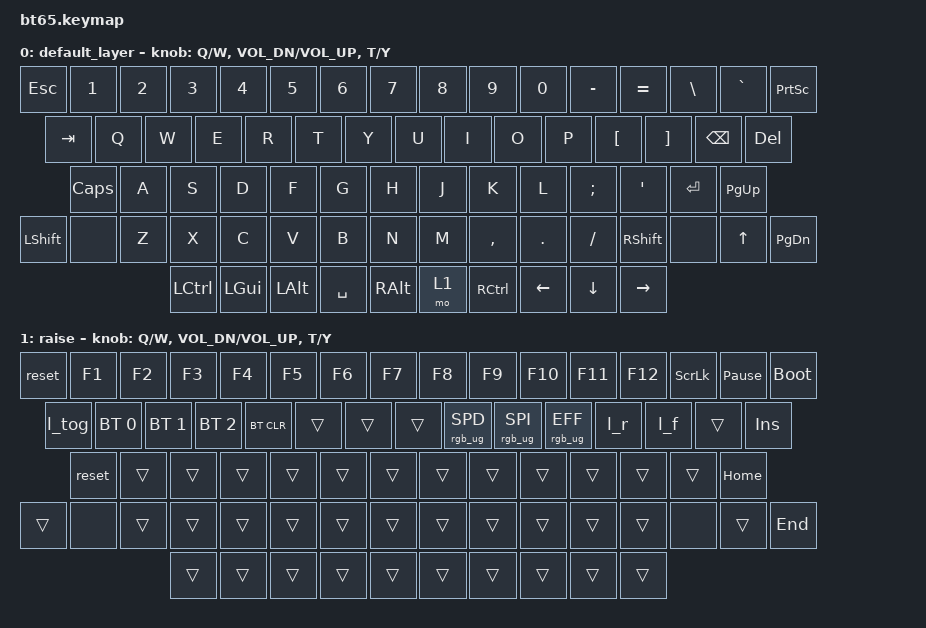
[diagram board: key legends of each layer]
#include <behaviors.dtsi>
#include <dt-bindings/zmk/keys.h>
#include <dt-bindings/zmk/bt.h>
#include <dt-bindings/zmk/rgb.h>
#include <dt-bindings/zmk/backlight.h>
#include <dt-bindings/zmk/ext_power.h>
#include <dt-bindings/zmk/outputs.h>

/ {
    macros {
        l_tog: l_tog {
            label = "ZM_light_toggle";
            compatible = "zmk,behavior-macro";
            #binding-cells = <0>;
            bindings
                = <&macro_tap &rgb_ug RGB_TOG &bl BL_TOG>
                ;
        };
	l_f: l_f {
            label = "ZM_light_forward";
            compatible = "zmk,behavior-macro";
            #binding-cells = <0>;
            bindings
                = <&macro_tap &rgb_ug RGB_BRI &bl BL_INC>
                ;
        };
	l_r: l_r {
            label = "ZM_light_reverse";
            compatible = "zmk,behavior-macro";
            #binding-cells = <0>;
            bindings
                = <&macro_tap &rgb_ug RGB_BRD &bl BL_DEC>
                ;
        };
    };
};

/* Actual Keymap */
/ {
	keymap {
		compatible = "zmk,keymap";

		default_layer {
				// ------------------------------------------------------------------------------------------------------------
				// |  `  |  1  |  2  |  3  |  4  |  5  |  6  |  7  |  8  |  9  |  0  |  -  |  =  |BKSP | DEL | INS		|
				// | TAB  |  Q  |  W  |  E  |  R  |  T  |  Y  |  U  |  I  |  O  |  P  |  [  |  ]  |   \    | DEL		|
				// | CAPS  |  A  |  S  |  D  |  F  |  G  |  H  |  J  |  K  |  L  |  ;  |  '  |     ENTER    |PGUP	|
				// |  SHIFT| NONE |  Z  |  X  |  C  |  V  |  B  |  N  |  M  |  ,  |  .  | /   |   SHIFT  | UP   | PGDN|
				// |  CTL  |  WIN  |  ALT  |            SPACE               | ALT | 1    |  MENU| LEFT |  DOWN    | RIGHT	|
				// ------------------------------------------------------------------------------------------------------------
			bindings = <

				&kp ESC &kp N1 &kp N2 &kp N3 &kp N4 &kp N5 &kp N6 &kp N7 &kp  N8   &kp  N9   &kp N0 &kp MINUS &kp EQUAL &kp BSLH &kp GRAVE &kp PSCRN
				&kp TAB  &kp Q  &kp W  &kp E  &kp R  &kp T  &kp Y  &kp U  &kp  I    &kp  O  &kp  P   &kp LBKT &kp RBKT &kp BSPC &kp DEL
				&kp CLCK  &kp A  &kp S  &kp D  &kp F  &kp G  &kp H  &kp J  &kp  K    &kp  L  &kp SEMI &kp SQT &kp RET &kp PG_UP
				&kp LSHFT &none &kp Z  &kp X  &kp C  &kp V  &kp B  &kp N  &kp M  &kp COMMA &kp DOT &kp FSLH   &kp RSHFT &none &kp UP &kp PG_DN
				&kp LCTRL &kp LGUI &kp LALT            &kp SPACE                          &kp RALT  &mo 1 &kp RCTRL &kp LEFT &kp DOWN &kp RIGHT
			>;
			sensor-bindings = <&inc_dec_kp Q W  &inc_dec_kp C_VOL_DN C_VOL_UP  &inc_dec_kp T Y>;
		};
		raise {
			bindings = <
				&reset &kp F1 &kp F2 &kp F3 &kp F4 &kp F5 &kp F6 &kp F7 &kp  F8   &kp  F9   &kp F10  &kp F11 &kp F12 &kp SLCK &kp PAUSE_BREAK &bootloader
				&l_tog &bt BT_SEL 0  &bt BT_SEL 1  &bt BT_SEL 2  &bt BT_CLR  &trans &trans &trans &rgb_ug RGB_SPD  &rgb_ug RGB_SPI  &rgb_ug RGB_EFF  &l_r &l_f  &trans  &kp INS
				&reset &trans &trans &trans &trans &trans &trans &trans &trans &trans &trans &trans   &trans &kp HOME
				&trans &none &trans &trans &trans &trans &trans &trans &trans &trans &trans &trans  &trans &none &trans &kp END
				&trans &trans  &trans              &trans                            &trans   &trans   &trans &trans &trans &trans
			>;
			sensor-bindings = <&inc_dec_kp Q W  &inc_dec_kp C_VOL_DN C_VOL_UP  &inc_dec_kp T Y>;
		};
	};
};
